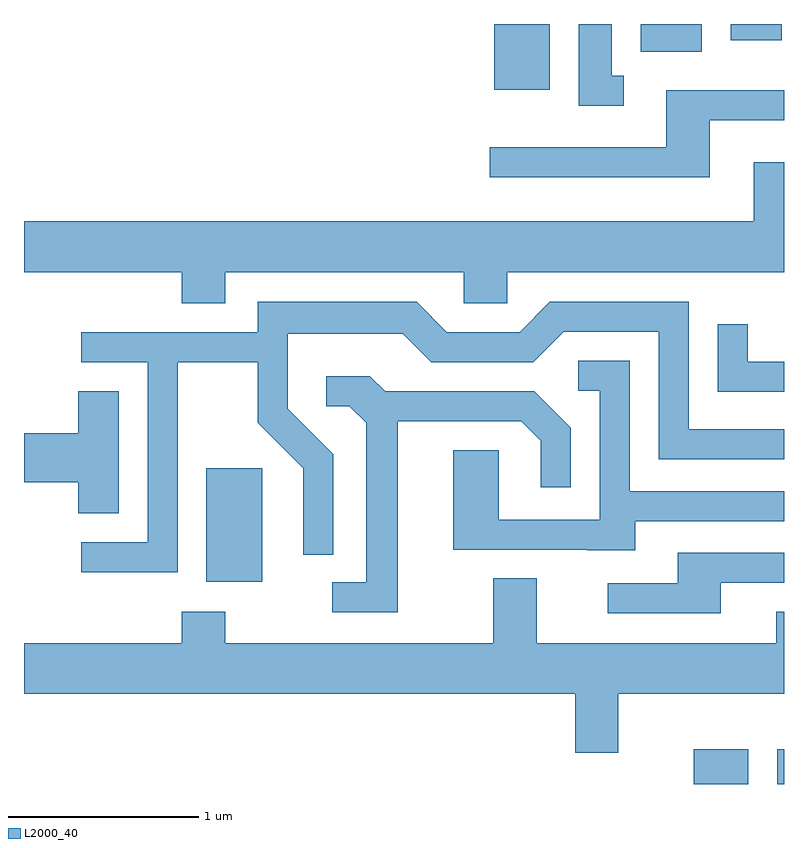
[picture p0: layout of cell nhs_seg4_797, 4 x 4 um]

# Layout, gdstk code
import gdstk
lib = gdstk.Library(unit=1e-6, precision=1e-09)
def R(c, l, rs):  # rectangles x0, y0, x1, y1
    for r in rs: c.add(gdstk.rectangle(r[:2], r[2:], *l))
def P(c, l, *ps):  # polygons
    for p in ps: c.add(gdstk.Polygon(p, *l))
L2000_40 = (2000, 40)

nhs_seg4_797 = lib.new_cell('nhs_seg4_797')
R(nhs_seg4_797, L2000_40, [(211.136,1351.982,211.424,1352.164), (211.576,1351.982,211.611,1352.164), (208.571,1353.046,208.864,1353.644), (210.086,1355.636,210.379,1355.982), (210.856,1355.836,211.179,1355.982), (211.331,1355.896,211.599,1355.982)])
P(nhs_seg4_797, L2000_40, [(210.768,1355.709),(210.704,1355.709),(210.704,1355.982),(210.531,1355.982),(210.531,1355.551),(210.768,1355.551)],
  [(211.219,1355.476),(211.611,1355.476),(211.611,1355.634),(210.991,1355.634),(210.991,1355.334),(210.063,1355.334),(210.063,1355.176),(211.219,1355.176)],
  [(208.669,1354.676),(209.926,1354.676),(209.926,1354.511),(210.154,1354.511),(210.154,1354.676),(211.611,1354.676),(211.611,1355.254),(211.451,1355.254),(211.451,1354.944),(207.611,1354.944),(207.611,1354.676),(208.441,1354.676),(208.441,1354.511),(208.669,1354.511)],
  [(208.419,1354.201),(208.841,1354.201),(208.841,1353.884),(209.081,1353.644),(209.081,1353.188),(209.239,1353.188),(209.239,1353.717),(208.999,1353.957),(208.999,1354.351),(209.604,1354.351),(209.754,1354.201),(210.292,1354.201),(210.452,1354.361),(210.951,1354.361),(210.951,1353.691),(211.611,1353.691),(211.611,1353.849),(211.109,1353.849),(211.109,1354.519),(210.379,1354.519),(210.219,1354.359),(209.837,1354.359),(209.677,1354.519),(208.841,1354.519),(208.841,1354.359),(207.913,1354.359),(207.913,1354.201),(208.261,1354.201),(208.261,1353.254),(207.913,1353.254),(207.913,1353.096),(208.419,1353.096)],
  [(211.611,1354.204),(211.419,1354.204),(211.419,1354.403),(211.261,1354.403),(211.261,1354.046),(211.611,1354.046)],
  [(210.829,1353.366),(211.611,1353.366),(211.611,1353.524),(210.799,1353.524),(210.799,1354.209),(210.528,1354.209),(210.528,1354.051),(210.641,1354.051),(210.641,1353.374),(210.109,1353.374),(210.109,1353.739),(209.871,1353.739),(209.871,1353.216),(210.575,1353.216),(210.575,1353.211),(210.829,1353.211)],
  [(209.579,1353.891),(210.229,1353.891),(210.331,1353.789),(210.331,1353.543),(210.489,1353.543),(210.489,1353.857),(210.297,1354.049),(209.512,1354.049),(209.432,1354.129),(209.203,1354.129),(209.203,1353.971),(209.324,1353.971),(209.411,1353.884),(209.411,1353.044),(209.233,1353.044),(209.233,1352.886),(209.579,1352.886)],
  [(208.109,1354.049),(207.896,1354.049),(207.896,1353.829),(207.611,1353.829),(207.611,1353.571),(207.896,1353.571),(207.896,1353.406),(208.109,1353.406)],
  [(211.279,1353.041),(211.611,1353.041),(211.611,1353.199),(211.051,1353.199),(211.051,1353.039),(210.683,1353.039),(210.683,1352.881),(211.279,1352.881)],
  [(210.739,1352.456),(211.611,1352.456),(211.611,1352.889),(211.571,1352.889),(211.571,1352.724),(210.309,1352.724),(210.309,1353.064),(210.081,1353.064),(210.081,1352.724),(208.669,1352.724),(208.669,1352.889),(208.441,1352.889),(208.441,1352.724),(207.611,1352.724),(207.611,1352.456),(210.511,1352.456),(210.511,1352.146),(210.739,1352.146)])

lib.write_gds('nhs_seg4_797.gds')
